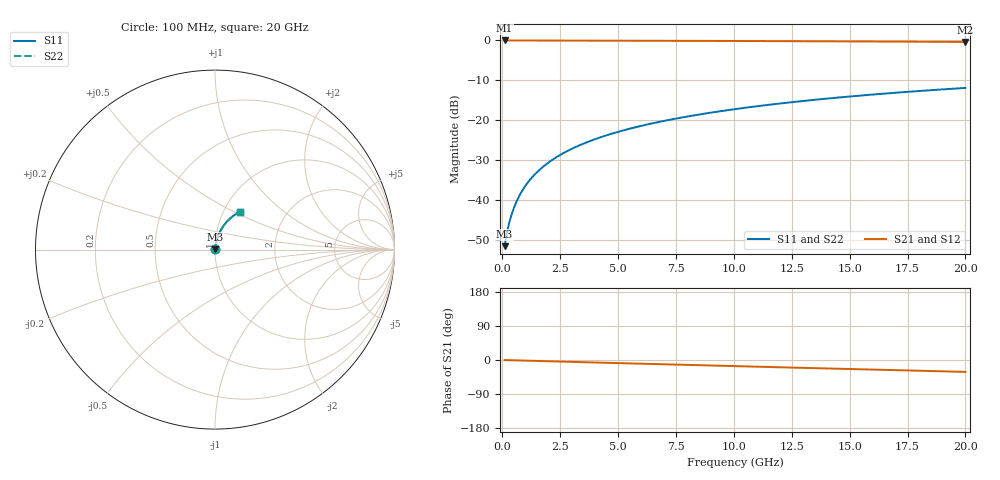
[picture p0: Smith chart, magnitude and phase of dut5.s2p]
! Touchstone file exported from HFSS 2026.1.0
!  File:  C:/ffzhzh/LocalFiles/Ansys_Project_Files/temp_train_BSMRDL_5_1782881769_8056.aedt
!  Generated:  12:57:35 PM Jul  1, 2026
!  Design:  BSMRDL
!  Project:  temp_train_BSMRDL_5_1782881769_8056
! Variables:
!  h_bsmrdl = 5.16um
!  h_ox = 20um
!  h_rdl = 5um
!  h_sub = 80um
!  h_tmrdl = 5um
!  h_tsv = 80um
!  h_via = 3um
!  l_bsmrdl = 483.08um
!  l_sub = 883.08um
!  l_tmrdl = 200um
!  m_sub = 200um
!  pitch = 34.93um
!  r_tsv = 6um
!  s_tmrdl = 10um
!  w_bsmrdl = 17.05um
!  w_sub = 500um
!  w_tmrdl = 12um
!  x_tsv_center1 = 206um
!  x_tsv_center2 = 706.13um
!  x_tsv_center3 = 918.13um
!  x_tsv_center4 = 1418.26um
!  x_tsv_center5 = 1630.26um
!  x_tsv_center6 = 2130.39um
# GHz S MA R 50.000000
! Terminal data exported
! Port[1] = BSM_RDL1_1_T1
! Port[2] = BSM_RDL1_1_T2
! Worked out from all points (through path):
!   200 points, 100 MHz to 20 GHz, reference 50 ohm
!   highest |S21| = -0.02 dB at 100 MHz (marker M1); lowest = -0.4 dB at 20 GHz (marker M2)
!   group delay of S21, straight-line fit = 4.35 ps
!   lowest |S11| = -51.6 dB at 100 MHz (marker M3), VSWR 1.01, Z = 50.2 + j0.164 ohm
!   |S11| at or under -10 dB: start of sweep to end of sweep
!   |S22| runs from -51.6 to -11.9 dB; largest |S21 - S12| = 3.6e-15
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0.1  0.002644 38.0  0.9979 -0.2  0.9979 -0.2  0.002644 38.0
! Gamma 0 0 0 0
! Port Impedance 50 0 50 0
0.2  0.003868 55.1  0.9978 -0.3  0.9978 -0.3  0.003868 55.1
0.3  0.005204 63.3  0.9977 -0.5  0.9977 -0.5  0.005204 63.3
0.4  0.006574 68.2  0.9976 -0.7  0.9976 -0.7  0.006574 68.2
0.5  0.007966 71.4  0.9975 -0.8  0.9975 -0.8  0.007966 71.4
0.6  0.009376 73.7  0.9975 -1.0  0.9975 -1.0  0.009376 73.7
0.8  0.01223 76.6  0.9974 -1.3  0.9974 -1.3  0.01223 76.6
1.1  0.01656 78.9  0.9972 -1.8  0.9972 -1.8  0.01656 78.9
1.5  0.02235 80.2  0.9969 -2.5  0.9969 -2.5  0.02235 80.2
1.8  0.02669 80.5  0.9966 -3.0  0.9966 -3.0  0.02669 80.5
2.1  0.031 80.6  0.9963 -3.5  0.9963 -3.5  0.031 80.6
2.7  0.03957 80.4  0.9957 -4.5  0.9957 -4.5  0.03957 80.4
3.5  0.05084 79.6  0.9946 -5.8  0.9946 -5.8  0.05084 79.6
4.2  0.06055 78.7  0.9936 -6.9  0.9936 -6.9  0.06055 78.7
5  0.0715 77.7  0.9923 -8.2  0.9923 -8.2  0.0715 77.7
5.9  0.08364 76.5  0.9908 -9.6  0.9908 -9.6  0.08365 76.5
6.8  0.09563 75.2  0.9892 -11.1  0.9892 -11.1  0.09563 75.2
8.3  0.1153 73.1  0.9864 -13.4  0.9864 -13.4  0.1153 73.1
10.1  0.1384 70.6  0.9827 -16.3  0.9827 -16.3  0.1384 70.6
13.4  0.1791 65.8  0.9751 -21.4  0.9751 -21.4  0.1792 65.8
16.7  0.2178 61.1  0.9664 -26.4  0.9664 -26.4  0.2178 61.1
20  0.2539 56.4  0.957 -31.3  0.957 -31.3  0.2539 56.4
